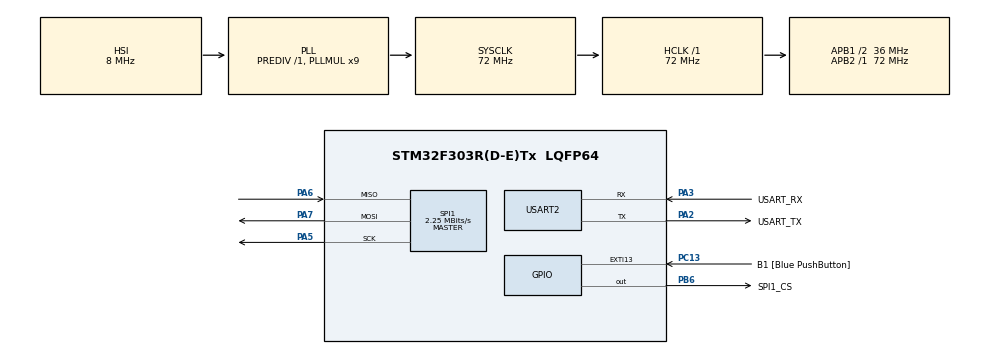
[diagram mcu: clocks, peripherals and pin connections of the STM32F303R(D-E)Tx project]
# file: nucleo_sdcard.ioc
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FATFS._MAX_SS=4096
FREERTOS.HEAP_NUMBER=4
FREERTOS.MEMORY_ALLOCATION=0
FREERTOS.Tasks01=defaultTask,0,512,StartDefaultTask,Default,NULL,Dynamic,NULL,NULL
FREERTOS.configTOTAL_HEAP_SIZE=8192
FREERTOS.configUSE_IDLE_HOOK=0
FREERTOS.configUSE_MALLOC_FAILED_HOOK=1
FREERTOS.configUSE_NEWLIB_REENTRANT=1
Mcu.Family=STM32F3
Mcu.Name=STM32F303R(D-E)Tx
Mcu.Package=LQFP64
NVIC.EXTI15_10_IRQn=true\:5\:0\:false\:false\:true\:true\:true\:true\:true
NVIC.FLASH_IRQn=true\:5\:0\:false\:false\:true\:true\:true\:true\:true
NVIC.FPU_IRQn=true\:5\:0\:false\:false\:true\:true\:true\:false\:true
NVIC.PVD_IRQn=true\:5\:0\:false\:false\:true\:true\:true\:true\:true
NVIC.PriorityGroup=NVIC_PRIORITYGROUP_4
NVIC.RCC_IRQn=true\:5\:0\:false\:false\:true\:true\:true\:false\:true
NVIC.TIM6_DAC_IRQn=true\:15\:0\:true\:false\:true\:false\:false\:true\:true
NVIC.TimeBase=TIM6_DAC_IRQn
NVIC.TimeBaseIP=TIM6
NVIC.USART2_IRQn=true\:5\:0\:false\:false\:true\:true\:true\:true\:true
PA2.GPIO_Label=USART_TX
PA2.GPIO_Mode=GPIO_MODE_AF_PP
PA2.GPIO_PuPd=GPIO_NOPULL
PA2.GPIO_Speed=GPIO_SPEED_FREQ_LOW
PA2.Mode=Asynchronous
PA2.Signal=USART2_TX
PA3.GPIO_Label=USART_RX
PA3.GPIO_Mode=GPIO_MODE_AF_PP
PA3.GPIO_PuPd=GPIO_NOPULL
PA3.GPIO_Speed=GPIO_SPEED_FREQ_LOW
PA3.Mode=Asynchronous
PA3.Signal=USART2_RX
PA5.Mode=Full_Duplex_Master
PA5.Signal=SPI1_SCK
PA6.Mode=Full_Duplex_Master
PA6.Signal=SPI1_MISO
PA7.Mode=Full_Duplex_Master
PA7.Signal=SPI1_MOSI
PB6.GPIO_Label=SPI1_CS
PB6.Signal=GPIO_Output
PC13.GPIO_Label=B1 [Blue PushButton]
PC13.GPIO_ModeDefaultEXTI=GPIO_MODE_IT_FALLING
PC13.Signal=GPXTI13
PC14-OSC32_IN.Mode=LSE-External-Oscillator
PC14-OSC32_IN.Signal=RCC_OSC32_IN
PC15-OSC32_OUT.Mode=LSE-External-Oscillator
PC15-OSC32_OUT.Signal=RCC_OSC32_OUT
PF0-OSC_IN.Mode=HSE-External-Oscillator
PF0-OSC_IN.Signal=RCC_OSC_IN
PF1-OSC_OUT.Mode=HSE-External-Oscillator
PF1-OSC_OUT.Signal=RCC_OSC_OUT
ProjectManager.HeapSize=0x200
ProjectManager.StackSize=0x400
ProjectManager.TargetToolchain=STM32CubeIDE
RCC.AHBFreq_Value=72000000
RCC.APB1CLKDivider=RCC_HCLK_DIV2
RCC.APB1Freq_Value=36000000
RCC.APB1TimFreq_Value=72000000
RCC.APB2Freq_Value=72000000
RCC.APB2TimFreq_Value=72000000
RCC.CortexFreq_Value=72000000
RCC.HCLKFreq_Value=72000000
RCC.HSE_VALUE=8000000
RCC.HSI_VALUE=8000000
RCC.PLLM=8
RCC.PLLMUL=RCC_PLL_MUL9
RCC.PLLN=336
RCC.PLLP=RCC_PLLP_DIV4
RCC.PLLQ=7
RCC.RCC_PLLsource_Clock_Source_FROM_HSE=RCC_HSE_PREDIV_DIV2
RCC.SYSCLKFreq_VALUE=72000000
RCC.SYSCLKSourceVirtual=RCC_SYSCLKSOURCE_PLLCLK
RCC.USBFreq_Value=72000000
SPI1.BaudRatePrescaler=SPI_BAUDRATEPRESCALER_32
SPI1.CalculateBaudRate=2.25 MBits/s
SPI1.DataSize=SPI_DATASIZE_8BIT
SPI1.Direction=SPI_DIRECTION_2LINES
SPI1.Mode=SPI_MODE_MASTER
SPI1.VirtualType=VM_MASTER
USART2.VirtualMode-Asynchronous=VM_ASYNC
VP_FATFS_VS_Generic.Mode=User_defined
VP_FREERTOS_VS_CMSIS_V1.Mode=CMSIS_V1
VP_SYS_VS_tim6.Mode=TIM6
board=NUCLEO-F303RE

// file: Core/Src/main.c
/* USER CODE BEGIN Header */
/**
  ******************************************************************************
  * @file           : main.c
  * @brief          : Main program body
  ******************************************************************************
  * @attention
  *
  * Copyright (c) 2022 STMicroelectronics.
  * All rights reserved.
  *
  * This software is licensed under terms that can be found in the LICENSE file
  * in the root directory of this software component.
  * If no LICENSE file comes with this software, it is provided AS-IS.
  *
  ******************************************************************************
  */
/* USER CODE END Header */
#include "main.h"
#include "cmsis_os.h"
#include "fatfs.h"

/* USER CODE BEGIN Includes */

#include "csv.h"
#include <stdio.h>
#include <string.h>
#include <stdarg.h> //for va_list var arg functions

/* USER CODE END Includes */

SPI_HandleTypeDef hspi1;

UART_HandleTypeDef huart2;

osThreadId defaultTaskHandle;
/* USER CODE BEGIN PV */
/* Private variables ---------------------------------------------------------*/

char rwbuffer[50];
FATFS 		FatFs;
FIL 		rwfile;
FRESULT 	fres;                 //Result after operations

/* USER CODE END PV */

void SystemClock_Config(void);
static void MX_GPIO_Init(void);
static void MX_SPI1_Init(void);
static void MX_USART2_UART_Init(void);
void StartDefaultTask(void const * argument);

/* USER CODE BEGIN PFP */
/* Private function prototypes -----------------------------------------------*/
void myprintf(const char *fmt, ...);
void process_SD_card(void);
void saveData(void);

/* USER CODE END PFP */

int main(void)
{

  /* MCU Configuration--------------------------------------------------------*/

  /* Reset of all peripherals, Initializes the Flash interface and the Systick. */
  HAL_Init();

  /* Configure the system clock */
  SystemClock_Config();

  /* Initialize all configured peripherals */
  MX_GPIO_Init();
  MX_SPI1_Init();
  MX_FATFS_Init();
  MX_USART2_UART_Init();
  /* USER CODE BEGIN 2 */
  myprintf("\r\n\r\n(Powering up)\r\nMary had a little lamb --\r\nI ate it with mint sauce.\r\n\r\n");

  myprintf("SD Card Connecting\r\n");
  fres = f_mount(&FatFs, "0", 1);    //1=mount now
  if (fres != FR_OK)
  {
	myprintf("No SD Card found : (%i)\r\n", fres);
  }
  else {
	myprintf("SD Card Mounted Successfully!!!\r\n");
  }
  f_mount(NULL, "0", 0);
  /* USER CODE END 2 */

  /* Create the thread(s) */
  /* definition and creation of defaultTask */
  osThreadDef(defaultTask, StartDefaultTask, osPriorityNormal, 0, 512);
  defaultTaskHandle = osThreadCreate(osThread(defaultTask), NULL);

  /* Start scheduler */
  osKernelStart();

  /* We should never get here as control is now taken by the scheduler */
  /* Infinite loop */
  while (1)
  {

  }
}

void SystemClock_Config(void)
{
  RCC_OscInitTypeDef RCC_OscInitStruct = {0};
  RCC_ClkInitTypeDef RCC_ClkInitStruct = {0};
  RCC_PeriphCLKInitTypeDef PeriphClkInit = {0};

  /** Initializes the RCC Oscillators according to the specified parameters
  * in the RCC_OscInitTypeDef structure.
  */
  RCC_OscInitStruct.OscillatorType = RCC_OSCILLATORTYPE_HSI;
  RCC_OscInitStruct.HSIState = RCC_HSI_ON;
  RCC_OscInitStruct.HSICalibrationValue = RCC_HSICALIBRATION_DEFAULT;
  RCC_OscInitStruct.PLL.PLLState = RCC_PLL_ON;
  RCC_OscInitStruct.PLL.PLLSource = RCC_PLLSOURCE_HSI;
  RCC_OscInitStruct.PLL.PLLMUL = RCC_PLL_MUL9;
  RCC_OscInitStruct.PLL.PREDIV = RCC_PREDIV_DIV1;
  if (HAL_RCC_OscConfig(&RCC_OscInitStruct) != HAL_OK)
  {
    Error_Handler();
  }

  /** Initializes the CPU, AHB and APB buses clocks
  */
  RCC_ClkInitStruct.ClockType = RCC_CLOCKTYPE_HCLK|RCC_CLOCKTYPE_SYSCLK
                              |RCC_CLOCKTYPE_PCLK1|RCC_CLOCKTYPE_PCLK2;
  RCC_ClkInitStruct.SYSCLKSource = RCC_SYSCLKSOURCE_PLLCLK;
  RCC_ClkInitStruct.AHBCLKDivider = RCC_SYSCLK_DIV1;
  RCC_ClkInitStruct.APB1CLKDivider = RCC_HCLK_DIV2;
  RCC_ClkInitStruct.APB2CLKDivider = RCC_HCLK_DIV1;

  if (HAL_RCC_ClockConfig(&RCC_ClkInitStruct, FLASH_LATENCY_2) != HAL_OK)
  {
    Error_Handler();
  }
  PeriphClkInit.PeriphClockSelection = RCC_PERIPHCLK_USART2;
  PeriphClkInit.Usart2ClockSelection = RCC_USART2CLKSOURCE_PCLK1;
  if (HAL_RCCEx_PeriphCLKConfig(&PeriphClkInit) != HAL_OK)
  {
    Error_Handler();
  }
}

static void MX_SPI1_Init(void)
{

  /* SPI1 parameter configuration*/
  hspi1.Instance = SPI1;
  hspi1.Init.Mode = SPI_MODE_MASTER;
  hspi1.Init.Direction = SPI_DIRECTION_2LINES;
  hspi1.Init.DataSize = SPI_DATASIZE_8BIT;
  hspi1.Init.CLKPolarity = SPI_POLARITY_LOW;
  hspi1.Init.CLKPhase = SPI_PHASE_1EDGE;
  hspi1.Init.NSS = SPI_NSS_SOFT;
  hspi1.Init.BaudRatePrescaler = SPI_BAUDRATEPRESCALER_32;
  hspi1.Init.FirstBit = SPI_FIRSTBIT_MSB;
  hspi1.Init.TIMode = SPI_TIMODE_DISABLE;
  hspi1.Init.CRCCalculation = SPI_CRCCALCULATION_DISABLE;
  hspi1.Init.CRCPolynomial = 7;
  hspi1.Init.CRCLength = SPI_CRC_LENGTH_DATASIZE;
  hspi1.Init.NSSPMode = SPI_NSS_PULSE_ENABLE;
  if (HAL_SPI_Init(&hspi1) != HAL_OK)
  {
    Error_Handler();
  }

}

static void MX_USART2_UART_Init(void)
{

  huart2.Instance = USART2;
  huart2.Init.BaudRate = 38400;
  huart2.Init.WordLength = UART_WORDLENGTH_8B;
  huart2.Init.StopBits = UART_STOPBITS_1;
  huart2.Init.Parity = UART_PARITY_NONE;
  huart2.Init.Mode = UART_MODE_TX_RX;
  huart2.Init.HwFlowCtl = UART_HWCONTROL_NONE;
  huart2.Init.OverSampling = UART_OVERSAMPLING_16;
  huart2.Init.OneBitSampling = UART_ONE_BIT_SAMPLE_DISABLE;
  huart2.AdvancedInit.AdvFeatureInit = UART_ADVFEATURE_NO_INIT;
  if (HAL_UART_Init(&huart2) != HAL_OK)
  {
    Error_Handler();
  }

}

static void MX_GPIO_Init(void)
{
  GPIO_InitTypeDef GPIO_InitStruct = {0};

  /* GPIO Ports Clock Enable */
  __HAL_RCC_GPIOC_CLK_ENABLE();
  __HAL_RCC_GPIOF_CLK_ENABLE();
  __HAL_RCC_GPIOA_CLK_ENABLE();
  __HAL_RCC_GPIOB_CLK_ENABLE();

  /*Configure GPIO pin Output Level */
  HAL_GPIO_WritePin(SPI1_CS_GPIO_Port, SPI1_CS_Pin, GPIO_PIN_RESET);

  /*Configure GPIO pin : B1_Pin */
  GPIO_InitStruct.Pin = B1_Pin;
  GPIO_InitStruct.Mode = GPIO_MODE_IT_FALLING;
  GPIO_InitStruct.Pull = GPIO_NOPULL;
  HAL_GPIO_Init(B1_GPIO_Port, &GPIO_InitStruct);

  /*Configure GPIO pin : SPI1_CS_Pin */
  GPIO_InitStruct.Pin = SPI1_CS_Pin;
  GPIO_InitStruct.Mode = GPIO_MODE_OUTPUT_PP;
  GPIO_InitStruct.Pull = GPIO_NOPULL;
  GPIO_InitStruct.Speed = GPIO_SPEED_FREQ_LOW;
  HAL_GPIO_Init(SPI1_CS_GPIO_Port, &GPIO_InitStruct);

  /* EXTI interrupt init*/
  HAL_NVIC_SetPriority(EXTI15_10_IRQn, 5, 0);
  HAL_NVIC_EnableIRQ(EXTI15_10_IRQn);

}

/* USER CODE BEGIN 4 */
void myprintf(const char *fmt, ...) {

  char *buffer = malloc(100);
  va_list args;
  va_start(args, fmt);
  vsnprintf(buffer, 100, fmt, args);
  va_end(args);

  int len = strlen(buffer);
  HAL_UART_Transmit(&huart2, (uint8_t*)buffer, len, 1000);
  free(buffer);
}

void print_buffer(CSV_BUFFER *buffer){
	int i, j;
	myprintf("\n");
	for (i = 0; i < buffer->rows; i++) {
	for (j = 0; j < buffer->width[i]; j++) {
			myprintf("%c%s%c%c", buffer->text_delim, buffer->field[i][j]->text, buffer->text_delim, buffer->field_delim);
		}
		myprintf("\r\n");
	}
	myprintf("\n\n");
}

void print_csv(void){

	const TCHAR *file_path = "0:/csv/test.csv";
	FIL 		rwfile;
	FATFS 		FatFs;
	FRESULT 	fres;
	// Mount drive
	myprintf("Mounting SD card\r\n");

	fres = f_mount(&FatFs, "", 1);

	if (fres != FR_OK){
		myprintf("f_mount pb: %d\r\n", fres);
	}
	else{
		fres = f_open(&rwfile, file_path, FA_OPEN_EXISTING | FA_READ | FA_WRITE);
		if (fres != FR_OK){
			myprintf("f_open pb: %d\r\n", fres);
		}
		else{
			myprintf("Creating buffer\r\n");
			CSV_BUFFER *csvbuffer = csv_create_buffer();

			myprintf("Loading csv\r\n");
			csv_load(csvbuffer, &rwfile);

			// Print buffer
			uint32_t i, j;
			for (i = 0; i < csvbuffer->rows; i++){
				for (j = 0; j < csvbuffer->width[i]; j++){
					//myprintf("%-10s\t", buffer->field[i][j]->text);
					myprintf("buff[%d][%d] = %s\t\t", i, j, csvbuffer->field[i][j]->text);
				}
			}
		}
		myprintf("\r\n");
	}
}
/* USER CODE END 4 */

void StartDefaultTask(void const * argument)
{
  /* USER CODE BEGIN 5 */
  int current_state = 1;
  const TCHAR *file_path = "0:/csv/test.csv";
  /* Infinite loop */
  for(;;)
  {
	myprintf("Running Default Task \r\n");

	fres = f_mount(&FatFs, "", 1);    //1=mount now
	if (fres != FR_OK)
	{
	  myprintf("No SD Card found : (%i)\r\n", fres);
	}
	else {
		myprintf("SD Card Mounted Successfully!!!\r\n");
		FATFS *pfs;
		DWORD fre_clust;
		UINT br;
		uint32_t totalSpace, freeSpace;
		f_getfree("", &fre_clust, &pfs);
		totalSpace = (uint32_t)((pfs->n_fatent - 2) * pfs->csize * 0.5);
		freeSpace = (uint32_t)(fre_clust * pfs->csize * 0.5);
		myprintf("TotalSpace : %lu bytes, FreeSpace = %lu bytes\r\n", totalSpace, freeSpace);
		fres = f_open(&rwfile, "text.txt", FA_WRITE | FA_CREATE_ALWAYS);
		if(fres != FR_OK){
			myprintf("File creation/open Error : (%i)\r\n", fres);
		}
		else{
			myprintf("Writing data!!!\r\n");
			//write the data
			f_puts("Welcome to the best zone", &rwfile);
			//close your file
			f_close(&rwfile);
			fres = f_open(&rwfile, "text.txt", FA_WRITE | FA_READ | FA_CREATE_ALWAYS);
			if(fres != FR_OK){
				myprintf("File creation/open Error : (%i)\r\n", fres);
			}
			else{
				//read the data
				f_read(&rwfile, rwbuffer, 10, &br);
				myprintf("Read Data : %s\r\n", rwbuffer);
				//close your file
				f_close(&rwfile);
				myprintf("Closing File!!!\r\n");
			}
		}

	}
	f_mount(NULL, "0", 0);

	myprintf("Mounting SD card\r\n");
	fres = f_mount(&FatFs, "0", 1);
	if (fres != FR_OK)
	{
		myprintf("f_mount problem: %d\r\n", fres);
	}
	else{
		fres = f_open(&rwfile, file_path, FA_OPEN_EXISTING | FA_READ | FA_WRITE);
		if (fres != FR_OK)
		{
			myprintf("f_open pb: %d\r\n", fres);
		}
		else{
			myprintf("Creating buffer\r\n");
			CSV_BUFFER *buffer = csv_create_buffer();

			myprintf("Loading csv\r\n");
			csv_load(buffer, &rwfile);

			print_buffer(buffer);

			// add a row and input values

			if (current_state == 1){
				myprintf("editing csv\r\n");
				char *new_value = "88";
				current_state--;
				csv_set_field(buffer, 1, 1, (char *) new_value);
				csv_set_field(buffer, 1, 2, (char *) new_value);
			}
			csv_save(&rwfile, buffer);

			f_mount(NULL, "0", 0);

			f_close(&rwfile);
			csv_destroy_buffer(buffer);
		}
	}

    osDelay(4000);
  }
  /* USER CODE END 5 */
}

void HAL_TIM_PeriodElapsedCallback(TIM_HandleTypeDef *htim)
{
  if (htim->Instance == TIM6) {
    HAL_IncTick();
  }
}

void Error_Handler(void)
{
  while(1)
  {
  }
}

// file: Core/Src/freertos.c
/* USER CODE BEGIN Header */
/**
  ******************************************************************************
  * File Name          : freertos.c
  * Description        : Code for freertos applications
  ******************************************************************************
  * @attention
  *
  * Copyright (c) 2023 STMicroelectronics.
  * All rights reserved.
  *
  * This software is licensed under terms that can be found in the LICENSE file
  * in the root directory of this software component.
  * If no LICENSE file comes with this software, it is provided AS-IS.
  *
  ******************************************************************************
  */
/* USER CODE END Header */

#include "FreeRTOS.h"
#include "task.h"
#include "main.h"

/* Hook prototypes */
void vApplicationMallocFailedHook(void);

/* USER CODE BEGIN 5 */
__weak void vApplicationMallocFailedHook(void)
{
   /* vApplicationMallocFailedHook() will only be called if
   configUSE_MALLOC_FAILED_HOOK is set to 1 in FreeRTOSConfig.h. It is a hook
   function that will get called if a call to pvPortMalloc() fails.
   pvPortMalloc() is called internally by the kernel whenever a task, queue,
   timer or semaphore is created. It is also called by various parts of the
   demo application. If heap_1.c or heap_2.c are used, then the size of the
   heap available to pvPortMalloc() is defined by configTOTAL_HEAP_SIZE in
   FreeRTOSConfig.h, and the xPortGetFreeHeapSize() API function can be used
   to query the size of free heap space that remains (although it does not
   provide information on how the remaining heap might be fragmented). */
	while(1);
}
/* USER CODE END 5 */
